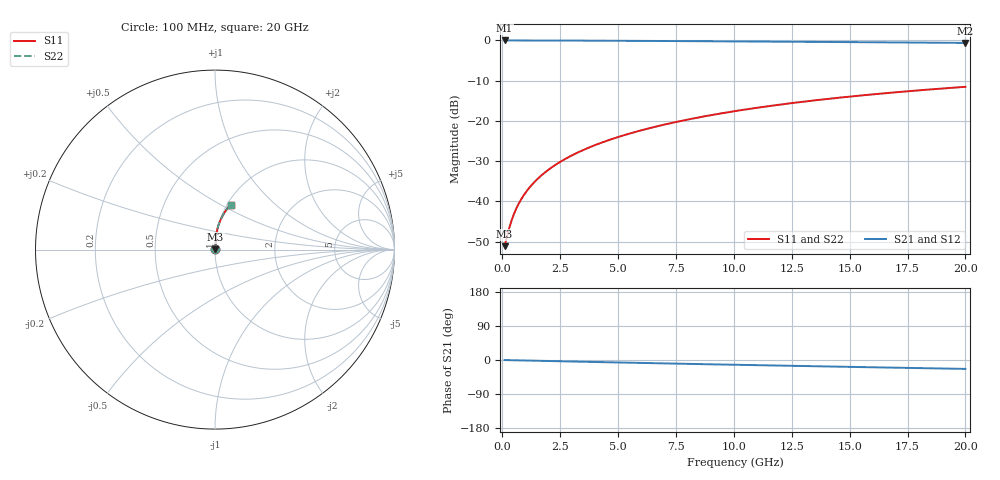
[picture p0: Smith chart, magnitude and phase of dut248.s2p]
! Touchstone file exported from HFSS 2024.1.0
!  File:  C:/UserFiles/LocalFiles/RDL_TSV_Batchsim/temp_RDL_top_248_1778688821.aedt
!  Generated:  12:15:59 AM May 14, 2026
!  Design:  RDL_top
!  Project:  temp_RDL_top_248_1778688821
!  Setup:  Setup1
!  Solution:  Sweep
! Variables:
!  dtsv = 10.80580581um
!  hbump = 3um
!  htsv = 83.83um
!  ldown = 100um
!  lrdl = 275.67um
!  p = 40
!  p1 = 52.72um
!  rhole = 1um
!  t = 450um
!  tdown = 3.915915916um
!  trdl = 2.23um
!  wdown = 15.38538539um
!  wrdl = 20.99um
# GHz S MA R 50.000000
! Terminal data exported
! Port[1] = Box2_T1
! Port[2] = Box2_T2
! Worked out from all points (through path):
!   200 points, 100 MHz to 20 GHz, reference 50 ohm
!   highest |S21| = -0.02 dB at 100 MHz (marker M1); lowest = -0.6 dB at 20 GHz (marker M2)
!   group delay of S21, straight-line fit = 3.24 ps
!   lowest |S11| = -51.2 dB at 100 MHz (marker M3), VSWR 1.01, Z = 50.2 + j0.132 ohm
!   |S11| at or under -10 dB: start of sweep to end of sweep
!   |S22| runs from -51.2 to -11.5 dB; largest |S21 - S12| = 3.9e-15
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0.1  0.002767 28.4  0.9976 -0.1  0.9976 -0.1  0.002767 28.4
! Gamma 0 0 0 0
! Port Impedance 50 0 50 0
0.3  0.00465 56.8  0.9974 -0.4  0.9974 -0.4  0.00465 56.8
0.4  0.005767 63.0  0.9973 -0.6  0.9973 -0.6  0.005767 63.0
0.5  0.006912 67.1  0.9972 -0.7  0.9972 -0.7  0.006912 67.1
0.6  0.008068 70.1  0.9971 -0.8  0.9971 -0.8  0.008068 70.1
0.7  0.00923 72.4  0.997 -1.0  0.997 -1.0  0.00923 72.4
0.9  0.01157 75.6  0.9968 -1.2  0.9968 -1.2  0.01157 75.6
1.2  0.01512 78.7  0.9965 -1.6  0.9965 -1.6  0.01512 78.7
1.4  0.0175 80.1  0.9962 -1.9  0.9962 -1.9  0.0175 80.1
1.7  0.02111 81.6  0.9958 -2.3  0.9958 -2.3  0.02111 81.6
2.2  0.0272 83.3  0.9951 -2.9  0.9951 -2.9  0.0272 83.3
2.8  0.03461 84.5  0.994 -3.7  0.994 -3.7  0.03461 84.5
3.5  0.04342 85.2  0.9925 -4.6  0.9925 -4.6  0.04342 85.2
4.2  0.05239 85.6  0.9907 -5.5  0.9907 -5.5  0.05239 85.6
5  0.06285 85.7  0.9885 -6.5  0.9885 -6.5  0.06285 85.7
5.9  0.07486 85.5  0.9857 -7.7  0.9857 -7.7  0.07486 85.5
6.8  0.08706 85.0  0.9827 -8.8  0.9827 -8.8  0.08706 85.0
8.4  0.1091 83.9  0.9771 -10.7  0.9771 -10.7  0.1091 83.8
10.1  0.1328 82.2  0.9708 -12.7  0.9708 -12.7  0.1328 82.2
13.4  0.1783 78.6  0.9579 -16.4  0.9579 -16.4  0.1783 78.6
16.7  0.2225 74.7  0.9443 -20.0  0.9443 -20.0  0.2225 74.7
20  0.2647 70.9  0.93 -23.5  0.93 -23.5  0.2647 70.9
